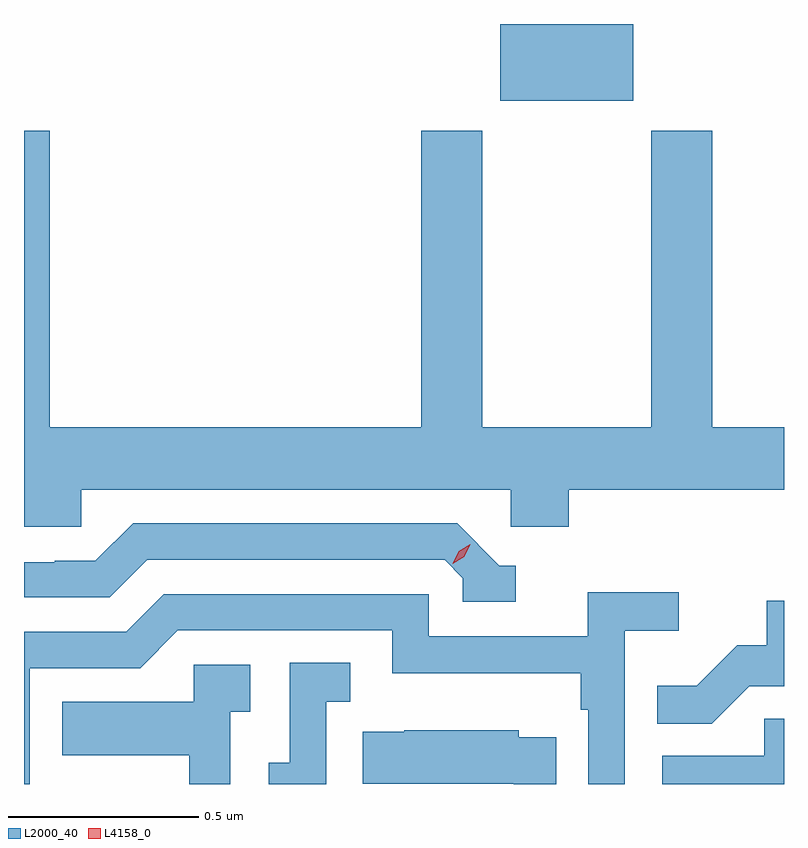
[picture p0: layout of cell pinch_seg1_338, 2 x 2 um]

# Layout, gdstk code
import gdstk
lib = gdstk.Library(unit=1e-6, precision=1e-09)
def R(c, l, rs):  # rectangles x0, y0, x1, y1
    for r in rs: c.add(gdstk.rectangle(r[:2], r[2:], *l))
def P(c, l, *ps):  # polygons
    for p in ps: c.add(gdstk.Polygon(p, *l))
L2000_40 = (2000, 40)
L4158_0 = (4158, 0)

pinch_seg1_338 = lib.new_cell('pinch_seg1_338')
R(pinch_seg1_338, L2000_40, [(978.548,552.755,978.898,552.957)])
P(pinch_seg1_338, L2000_40, [(977.445,551.732),(978.576,551.732),(978.576,551.634),(978.728,551.634),(978.728,551.732),(979.295,551.732),(979.295,551.896),(979.106,551.896),(979.106,552.676),(978.946,552.676),(978.946,551.896),(978.501,551.896),(978.501,552.676),(978.341,552.676),(978.341,551.896),(977.363,551.896),(977.363,552.676),(977.295,552.676),(977.295,551.634),(977.445,551.634)],
  [(978.589,551.532),(978.546,551.532),(978.435,551.643),(977.582,551.643),(977.483,551.544),(977.376,551.544),(977.376,551.541),(977.295,551.541),(977.295,551.448),(977.52,551.448),(977.619,551.547),(978.402,551.547),(978.45,551.499),(978.45,551.436),(978.589,551.436)],
  [(977.31,551.262),(977.601,551.262),(977.7,551.361),(978.264,551.361),(978.264,551.249),(978.76,551.249),(978.76,551.153),(978.78,551.153),(978.78,550.957),(978.876,550.957),(978.876,551.36),(979.018,551.36),(979.018,551.462),(978.779,551.462),(978.779,551.346),(978.36,551.346),(978.36,551.457),(977.663,551.457),(977.564,551.358),(977.295,551.358),(977.295,550.957),(977.31,550.957)],
  [(979.203,551.214),(979.295,551.214),(979.295,551.439),(979.249,551.439),(979.249,551.322),(979.172,551.322),(979.065,551.215),(978.961,551.215),(978.961,551.116),(979.105,551.116)],
  [(978.09,551.173),(978.154,551.173),(978.154,551.276),(977.994,551.276),(977.994,551.013),(977.939,551.013),(977.939,550.957),(978.09,550.957)],
  [(977.838,551.147),(977.89,551.147),(977.89,551.271),(977.742,551.271),(977.742,551.173),(977.395,551.173),(977.395,551.033),(977.73,551.033),(977.73,550.957),(977.838,550.957)],
  [(979.295,551.129),(979.243,551.129),(979.243,551.031),(978.974,551.031),(978.974,550.957),(979.295,550.957)],
  [(978.695,551.08),(978.597,551.08),(978.597,551.098),(978.295,551.098),(978.295,551.095),(978.187,551.095),(978.187,550.958),(978.584,550.958),(978.584,550.957),(978.695,550.957)])
P(pinch_seg1_338, L4158_0, [(978.423,551.536),(978.423,551.536),(978.439,551.569),(978.469,551.588),(978.469,551.588),(978.469,551.588),(978.454,551.555),(978.423,551.536)])

lib.write_gds('pinch_seg1_338.gds')
